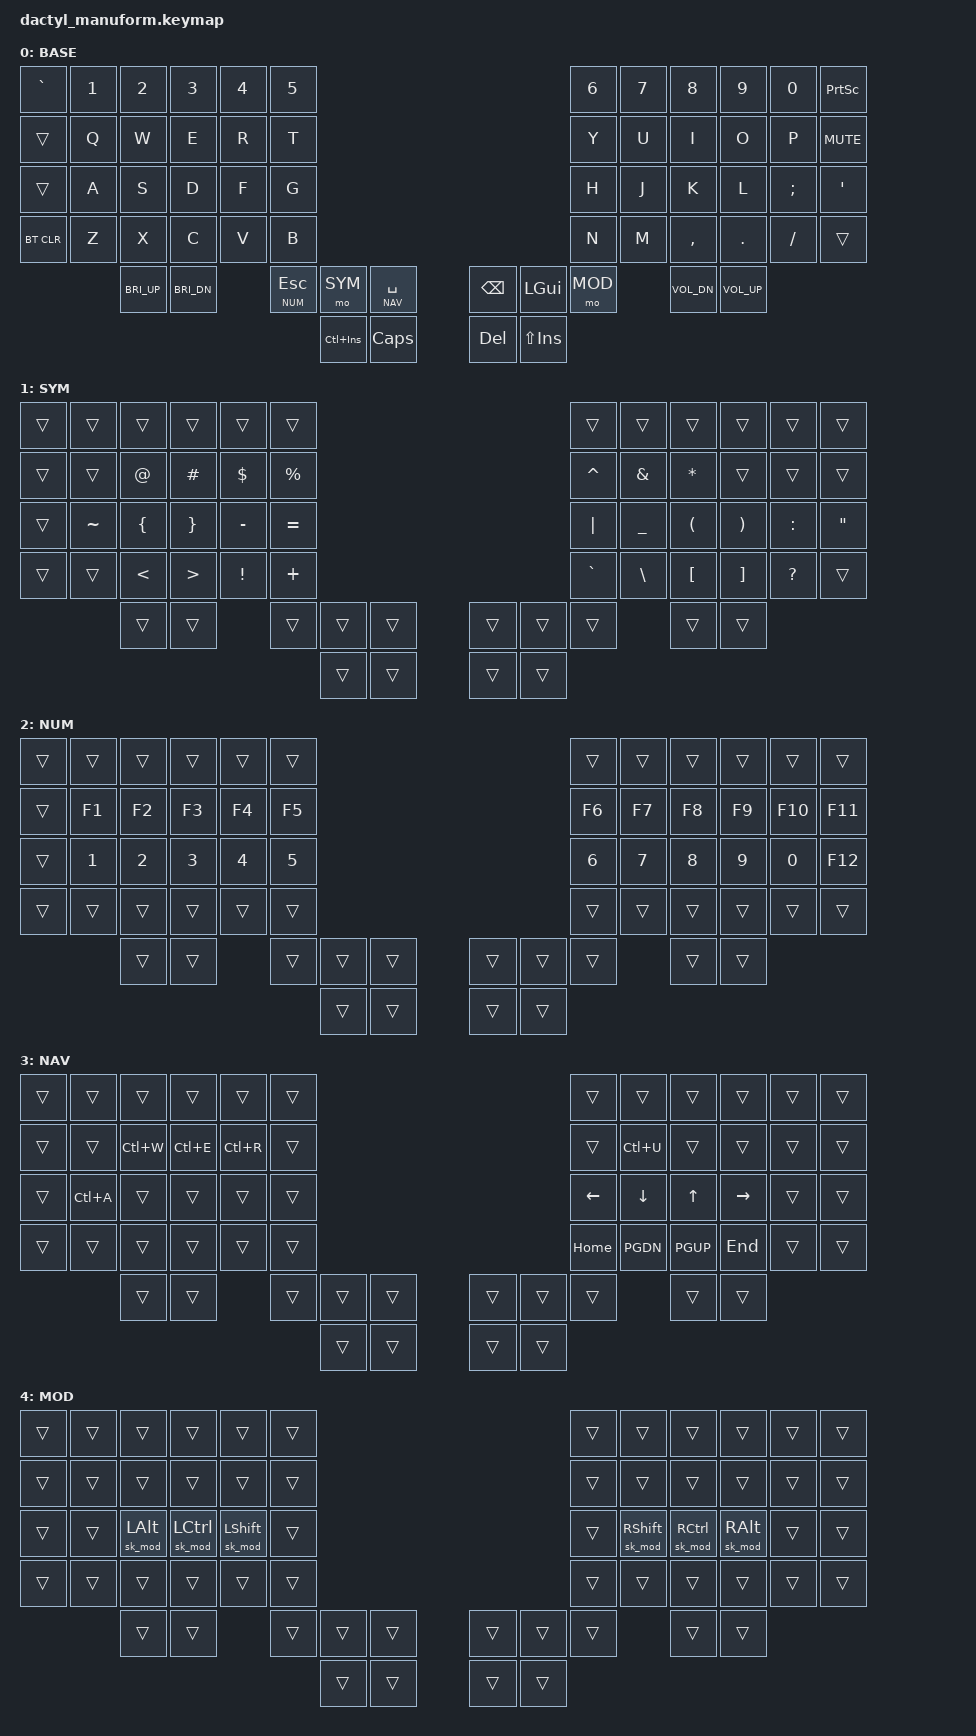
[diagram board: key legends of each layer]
#include <behaviors.dtsi>
#include <dt-bindings/zmk/keys.h>
#include <dt-bindings/zmk/bt.h>

#define BASE 0
#define SYM  1
#define NUM  2
#define NAV  3
#define MOD  4

/ {
    combos {
        compatible = "zmk,combos";
        
        combo_tab {
            timeout-ms = <50>;
            key-positions = <26 27>;
            bindings = <&kp TAB>;
        };

        combo_enter {
            timeout-ms = <50>;
            key-positions = <32 33>;
            bindings = <&kp RET>;
        };
    };

    behaviors {
        sk_mod: sticky_key_mod {
            compatible = "zmk,behavior-sticky-key";
            label = "STICKY_KEY_MOD";
            #binding-cells = <1>;
            bindings = <&kp>;
            release-after-ms = <2000>;
            quick-release;
            ignore-modifiers;
        };
    };

    keymap {
        compatible = "zmk,keymap";

        base_layer {
            display-name = "BASE";
            bindings = <
                &kp GRAVE       &kp N1          &kp N2          &kp N3          &kp N4          &kp N5            &kp N6          &kp N7          &kp N8          &kp N9          &kp N0          &kp PSCRN
                &trans          &kp Q           &kp W           &kp E           &kp R           &kp T             &kp Y           &kp U           &kp I           &kp O           &kp P           &kp C_MUTE
                &trans          &kp A           &kp S           &kp D           &kp F           &kp G             &kp H           &kp J           &kp K           &kp L           &kp SEMI        &kp SQT
                &bt BT_CLR      &kp Z           &kp X           &kp C           &kp V           &kp B             &kp N           &kp M           &kp COMMA       &kp DOT         &kp FSLH        &trans
                                &kp C_BRI_UP    &kp C_BRI_DN    &lt NUM ESC     &mo SYM         &lt NAV SPACE     &kp BSPC        &kp LGUI        &mo MOD         &kp C_VOL_DN    &kp C_VOL_UP
                                                                                &kp LC(INS)     &kp CAPS          &kp DEL         &kp LS(INS)
            >;
        };

        sym_layer {
            display-name = "SYM";
            bindings = <
                &trans          &trans          &trans          &trans          &trans          &trans            &trans          &trans          &trans          &trans          &trans          &trans
                &trans          &trans          &kp AT          &kp HASH        &kp DLLR        &kp PRCNT         &kp CARET       &kp AMPS        &kp ASTRK       &trans          &trans          &trans
                &trans          &kp TILDE       &kp LBRC        &kp RBRC        &kp MINUS       &kp EQUAL         &kp PIPE        &kp UNDER       &kp LPAR        &kp RPAR        &kp COLON       &kp DQT
                &trans          &trans          &kp LT          &kp GT          &kp EXCL        &kp PLUS          &kp GRAVE       &kp BSLH        &kp LBKT        &kp RBKT        &kp QMARK       &trans          
                                &trans          &trans          &trans          &trans          &trans            &trans          &trans          &trans          &trans          &trans
                                                                                &trans          &trans            &trans          &trans
            >;
        };

        num_layer {
            display-name = "NUM";
            bindings = <
                &trans          &trans          &trans          &trans          &trans          &trans            &trans          &trans          &trans          &trans          &trans          &trans
                &trans          &kp F1          &kp F2          &kp F3          &kp F4          &kp F5            &kp F6          &kp F7          &kp F8          &kp F9          &kp F10         &kp F11
                &trans          &kp N1          &kp N2          &kp N3          &kp N4          &kp N5            &kp N6          &kp N7          &kp N8          &kp N9          &kp N0          &kp F12
                &trans          &trans          &trans          &trans          &trans          &trans            &trans          &trans          &trans          &trans          &trans          &trans
                                &trans          &trans          &trans          &trans          &trans            &trans          &trans          &trans          &trans          &trans
                                                                                &trans          &trans            &trans          &trans
            >;
        };

        nav_layer {
            display-name = "NAV";
            bindings = <
                &trans          &trans          &trans          &trans          &trans          &trans            &trans          &trans          &trans          &trans          &trans          &trans
                &trans          &trans          &kp LC(W)       &kp LC(E)       &kp LC(R)       &trans            &trans          &kp LC(U)       &trans          &trans          &trans          &trans          
                &trans          &kp LC(A)       &trans          &trans          &trans          &trans            &kp LEFT        &kp DOWN        &kp UP          &kp RIGHT       &trans          &trans          
                &trans          &trans          &trans          &trans          &trans          &trans            &kp HOME        &kp PGDN        &kp PGUP        &kp END         &trans          &trans
                                &trans          &trans          &trans          &trans          &trans            &trans          &trans          &trans          &trans          &trans
                                                                                &trans          &trans            &trans          &trans
            >;
        };

        mod_layer {
            display-name = "MOD";
            bindings = <
                &trans          &trans          &trans          &trans          &trans          &trans            &trans          &trans          &trans          &trans          &trans          &trans
                &trans          &trans          &trans          &trans          &trans          &trans            &trans          &trans          &trans          &trans          &trans          &trans
                &trans          &trans          &sk_mod LALT    &sk_mod LCTRL   &sk_mod LSHFT   &trans            &trans          &sk_mod RSHFT   &sk_mod RCTRL   &sk_mod RALT    &trans          &trans
                &trans          &trans          &trans          &trans          &trans          &trans            &trans          &trans          &trans          &trans          &trans          &trans
                                &trans          &trans          &trans          &trans          &trans            &trans          &trans          &trans          &trans          &trans
                                                                                &trans          &trans            &trans          &trans
            >;
        };
    };
};
